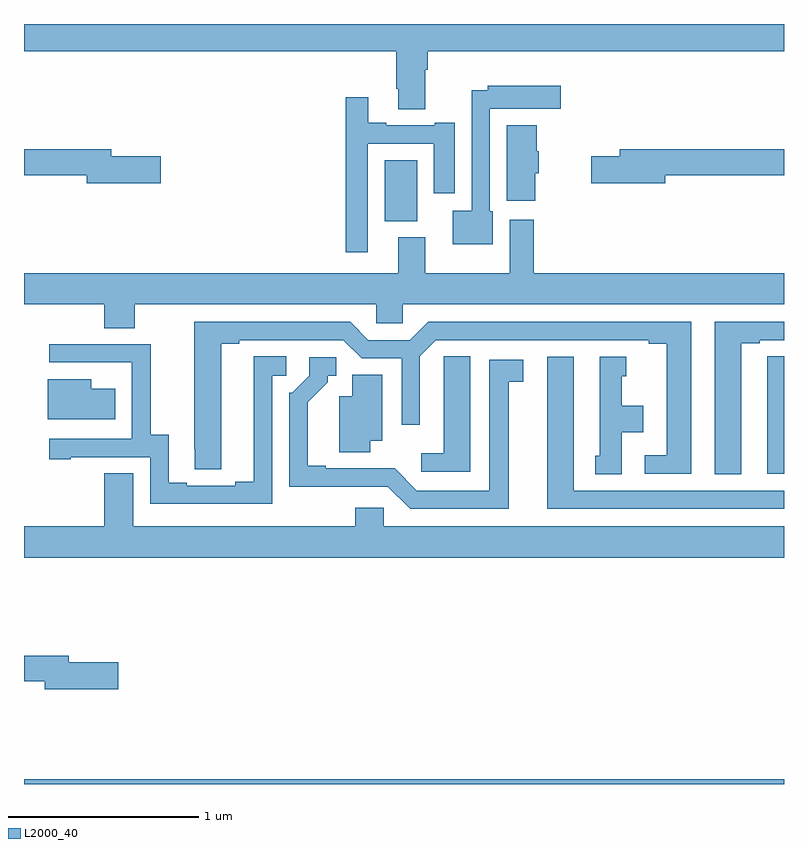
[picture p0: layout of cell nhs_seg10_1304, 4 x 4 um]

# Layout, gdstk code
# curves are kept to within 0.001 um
import gdstk
lib = gdstk.Library(unit=1e-6, precision=1e-09)
def R(c, l, rs):  # rectangles x0, y0, x1, y1
    for r in rs: c.add(gdstk.rectangle(r[:2], r[2:], *l))
def P(c, l, *ps):  # polygons
    for p in ps: c.add(gdstk.Polygon(p, *l))
L2000_40 = (2000, 40)

nhs_seg10_1304 = lib.new_cell('nhs_seg10_1304')
R(nhs_seg10_1304, L2000_40, [(179,1256.5,183,1256.524), (180.899,1259.462,181.069,1259.782)])
P(nhs_seg10_1304, L2000_40, [(181.111,1260.26),(181.124,1260.26),(181.124,1260.356),(183,1260.356),(183,1260.5),(179,1260.5),(179,1260.356),(180.959,1260.356),(180.959,1260.16),(180.971,1260.16),(180.971,1260.052),(181.111,1260.052)],
  [(181.468,1259.514),(181.452,1259.514),(181.452,1260.054),(181.549,1260.054),(181.549,1260.053),(181.825,1260.053),(181.825,1260.175),(181.44,1260.175),(181.44,1260.152),(181.356,1260.152),(181.356,1259.518),(181.256,1259.518),(181.256,1259.342),(181.468,1259.342)],
  [(180.81,1259.871),(181.157,1259.871),(181.157,1259.61),(181.267,1259.61),(181.267,1259.98),(181.163,1259.98),(181.163,1259.967),(180.907,1259.967),(180.907,1259.98),(180.811,1259.98),(180.811,1260.115),(180.694,1260.115),(180.694,1259.298),(180.81,1259.298)],
  [(181.69,1259.715),(181.708,1259.715),(181.708,1259.829),(181.698,1259.829),(181.698,1259.968),(181.541,1259.968),(181.541,1259.571),(181.69,1259.571)],
  [(179.719,1259.804),(179.458,1259.804),(179.458,1259.84),(179,1259.84),(179,1259.704),(179.33,1259.704),(179.33,1259.662),(179.719,1259.662)],
  [(182.374,1259.704),(183,1259.704),(183,1259.84),(182.135,1259.84),(182.135,1259.804),(181.986,1259.804),(181.986,1259.662),(182.374,1259.662)],
  [(179.583,1259.024),(180.855,1259.024),(180.855,1258.926),(180.993,1258.926),(180.993,1259.024),(183,1259.024),(183,1259.188),(181.682,1259.188),(181.682,1259.47),(181.556,1259.47),(181.556,1259.188),(181.111,1259.188),(181.111,1259.377),(180.971,1259.377),(180.971,1259.188),(179,1259.188),(179,1259.024),(179.423,1259.024),(179.423,1258.9),(179.583,1258.9)],
  [(182.776,1258.821),(182.872,1258.821),(182.872,1258.836),(183,1258.836),(183,1258.932),(182.636,1258.932),(182.636,1258.129),(182.776,1258.129)],
  [(182.512,1258.932),(181.127,1258.932),(181.031,1258.836),(180.813,1258.836),(180.717,1258.932),(179.897,1258.932),(179.898,1258.156),(180.037,1258.156),(180.037,1258.816),(180.133,1258.816),(180.133,1258.836),(180.681,1258.836),(180.777,1258.74),(180.987,1258.74),(180.987,1258.392),(181.083,1258.392),(181.083,1258.752),(181.167,1258.836),(182.288,1258.836),(182.288,1258.816),(182.384,1258.816),(182.384,1258.23),(182.268,1258.23),(182.268,1258.134),(182.512,1258.134)],
  [(180.306,1258.65),(180.379,1258.65),(180.379,1258.751),(180.209,1258.751),(180.209,1258.091),(180.113,1258.091),(180.113,1258.071),(179.857,1258.071),(179.857,1258.086),(179.761,1258.086),(179.761,1258.337),(179.667,1258.337),(179.667,1258.815),(179.133,1258.815),(179.133,1258.719),(179.567,1258.719),(179.567,1258.718),(179.568,1258.718),(179.568,1258.317),(179.133,1258.317),(179.133,1258.209),(179.245,1258.209),(179.245,1258.221),(179.664,1258.221),(179.664,1257.975),(180.306,1257.975)],
  [(181.348,1258.751),(181.209,1258.751),(181.209,1258.643),(181.208,1258.643),(181.208,1258.24),(181.092,1258.24),(181.092,1258.143),(181.348,1258.143)],
  [(183,1258.751),(182.913,1258.751),(182.913,1258.643),(182.912,1258.643),(182.912,1258.133),(183,1258.133)],
  [(183,1258.044),(181.894,1258.044),(181.894,1258.75),(181.754,1258.75),(181.754,1257.948),(183,1257.948)],
  [(182.146,1258.352),(182.26,1258.352),(182.26,1258.492),(182.146,1258.492),(182.146,1258.647),(182.17,1258.647),(182.17,1258.75),(182.03,1258.75),(182.03,1258.227),(182.006,1258.227),(182.006,1258.129),(182.146,1258.129)],
  [(181.552,1258.618),(181.627,1258.618),(181.627,1258.734),(181.448,1258.734),(181.448,1258.044),(181.068,1258.044),(180.95,1258.162),(180.589,1258.161),(180.589,1258.174),(180.493,1258.174),(180.493,1258.51),(180.598,1258.615),(180.598,1258.65),(180.643,1258.65),(180.643,1258.746),(180.501,1258.746),(180.501,1258.65),(180.411,1258.56),(180.396,1258.56),(180.396,1258.064),(180.915,1258.065),(181.032,1257.948),(181.552,1257.948)],
  [(180.823,1258.307),(180.886,1258.307),(180.886,1258.655),(180.728,1258.655),(180.728,1258.54),(180.659,1258.54),(180.659,1258.246),(180.823,1258.246)],
  [(179.479,1258.579),(179.353,1258.579),(179.353,1258.63),(179.126,1258.63),(179.126,1258.421),(179.479,1258.421)],
  [(183,1257.856),(180.894,1257.856),(180.894,1257.954),(180.743,1257.954),(180.743,1257.856),(179.575,1257.856),(179.575,1258.136),(179.423,1258.136),(179.423,1257.856),(179,1257.856),(179,1257.692),(183,1257.692)],
  [(179.497,1257.14),(179.236,1257.14),(179.236,1257.176),(179,1257.176),(179,1257.04),(179.108,1257.04),(179.108,1256.998),(179.497,1256.998)])

lib.write_gds('nhs_seg10_1304.gds')
